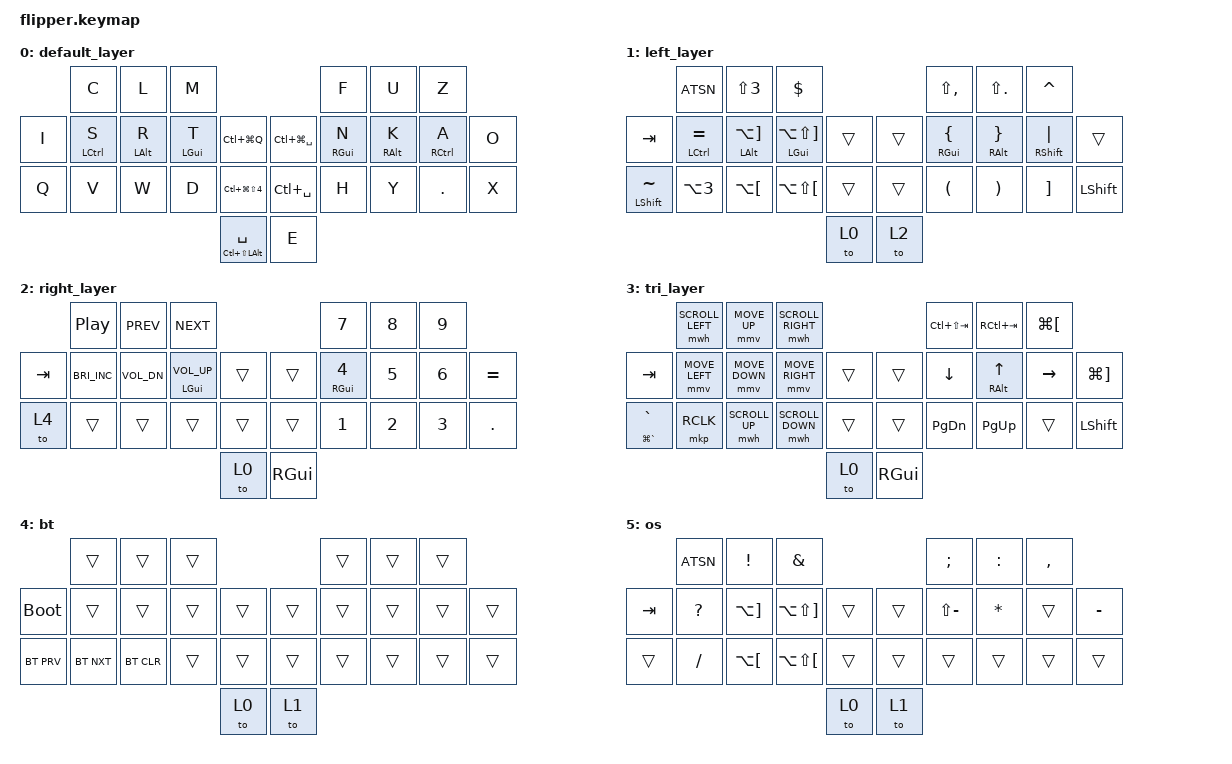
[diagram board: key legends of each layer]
/*
 * Copyright (c) 2020 The ZMK Contributors
 *
 * SPDX-License-Identifier: MIT
 */

#include <dt-bindings/zmk/mouse.h>
#include <behaviors.dtsi>
#include <dt-bindings/zmk/bt.h>
#include <dt-bindings/zmk/keys.h>

&mt {
    tapping-term-ms = <200>;
    flavor = "tap-preferred";
};

&sk {
    release-after-ms = <2000>;
    quick-release;
};

/ {
    combos {
        compatible = "zmk,combos";

        combo_esc {
            timeout-ms = <50>;
            key-positions = <17 18>;
            bindings = <&kp ESC>;
        };

        combo_bksc {
            timeout-ms = <20>;
            key-positions = <23 24>;
            bindings = <&to 3>;
        };

        combo_ent {
            timeout-ms = <20>;
            key-positions = <14 15>;
            bindings = <&kp RET>;
        };

        combo_1 {
            timeout-ms = <50>;
            key-positions = <26 27>;
            bindings = <&to 1>;
        };

        combo_3 {
            timeout-ms = <50>;
            key-positions = <4 5>;
            bindings = <&kp BKSP>;
        };

        caps {
            timeout-ms = <50>;
            key-positions = <24 25>;
            bindings = <&kp CAPS>;
        };

        rshift {
            timeout-ms = <50>;
            key-positions = <16 17>;
            bindings = <&sk RSHIFT>;
        };

        osl {
            timeout-ms = <50>;
            key-positions = <3 5>;
            bindings = <&sl 5>;
        };

        g {
            timeout-ms = <10>;
            key-positions = <8 9>;
            bindings = <&kp G>;
            layers = <0>;
        };

        j {
            timeout-ms = <20>;
            key-positions = <18 19>;
            bindings = <&kp J>;
            layers = <0>;
        };

        p {
            timeout-ms = <20>;
            key-positions = <12	13>;
            bindings = <&kp P>;
            layers = <0>;
        };

        b {
            timeout-ms = <20>;
            key-positions = <22	23>;
            bindings = <&kp B>;
            layers = <0>;
        };

        sqt {
            timeout-ms = <20>;
            key-positions = <8 9>;
            bindings = <&kp SQT>;
            layers = <1 5>;
        };

        dqt {
            timeout-ms = <20>;
            key-positions = <18 19>;
            bindings = <&kp DQT>;
            layers = <1 5>;
        };

        bslh {
            timeout-ms = <20>;
            key-positions = <12	13>;
            bindings = <&kp BSLH>;
            layers = <1>;
        };

        lbkt {
            timeout-ms = <20>;
            key-positions = <22	23>;
            bindings = <&kp LBKT>;
            layers = <1>;
        };

        plus {
            timeout-ms = <20>;
            key-positions = <8 9>;
            bindings = <&kp LS(EQUAL)>;
            layers = <2>;
        };

        prcnt {
            timeout-ms = <20>;
            key-positions = <18 19>;
            bindings = <&kp PRCNT>;
            layers = <2>;
        };

        minus {
            timeout-ms = <20>;
            key-positions = <12	13>;
            bindings = <&kp MINUS>;
            layers = <2>;
        };

        n0 {
            timeout-ms = <20>;
            key-positions = <22	23>;
            bindings = <&kp N0>;
            layers = <2>;
        };

        lalt {
            timeout-ms = <20>;
            key-positions = <8 9>;
            bindings = <&kp LALT>;
            layers = <3>;
        };

        del {
            timeout-ms = <20>;
            key-positions = <18 19>;
            bindings = <&kp DEL>;
            layers = <3>;
        };

        left {
            timeout-ms = <20>;
            key-positions = <12	13>;
            bindings = <&kp LEFT>;
            layers = <3>;
        };

        lclk {
            timeout-ms = <20>;
            key-positions = <22	23>;
            bindings = <&mkp LCLK>;
            layers = <3>;
        };
    };

    behaviors {
        hm: homerow_mods {
            compatible = "zmk,behavior-hold-tap";
            label = "HOMEROW_MODS";
            #binding-cells = <2>;
            tapping-term-ms = <200>;
            quick_tap_ms = <0>;
            flavor = "tap-preferred";
            bindings = <&kp>, <&kp>;
        };

        hs: homerow_shifts {
            compatible = "zmk,behavior-hold-tap";
            label = "HOMEROW_SHIFTS";
            #binding-cells = <2>;
            tapping-term-ms = <150>;
            quick_tap_ms = <0>;
            flavor = "balanced";
            bindings = <&kp>, <&kp>;
        };

        td: tapdance {
            compatible = "zmk,behavior-hold-tap";
            label = "TAPDANCE";
            #binding-cells = <2>;
            tapping-term-ms = <190>;
            quick_tap_ms = <0>;
            flavor = "tap-preferred";
            bindings = <&kp>, <&kp>;
        };
    };

    keymap {
        compatible = "zmk,keymap";

        default_layer {
            bindings = <
       &kp C       &kp L       &kp M                                                &kp F       &kp U       &kp Z
&kp I  &hm LCTL S  &hm LALT R  &hm LGUI T  &kp LC(LG(Q))         &kp LC(LG(SPACE))  &hm RGUI N  &hm RALT K  &hm RCTL A  &kp O
&kp Q  &kp V       &kp W       &kp D       &kp LC(LG(LS(N4)))    &kp LC(SPACE)      &kp H       &kp Y       &kp DOT     &kp X
                                           &mt LC(LS(LALT)) SPC  &kp E
            >;
        };

        left_layer {
            bindings = <
                  &kp ATSN        &kp LS(N3)         &kp DLLR                               &kp LS(COMMA)  &kp LS(DOT)    &kp CARET
&kp TAB           &hm LCTL EQUAL  &hm LALT LA(RBKT)  &hm LGUI LA(LS(RBKT))  &trans  &trans  &hm RGUI LBRC  &hm RALT RBRC  &hm RSHIFT PIPE  &trans
&hs LSHIFT TILDE  &kp LA(N3)      &kp LA(LBKT)       &kp LA(LS(LBKT))       &trans  &trans  &kp LPRN       &kp RPRN       &kp RBKT         &kp LSHIFT
                                                                            &to 0   &to 2
            >;
        };

        right_layer {
            bindings = <
         &kp C_PP              &kp C_PREV    &kp C_NEXT                           &kp N7       &kp N8  &kp N9
&kp TAB  &kp C_BRIGHTNESS_INC  &kp C_VOL_DN  &hm LGUI C_VOL_UP  &trans  &trans    &hm RGUI N4  &kp N5  &kp N6  &kp EQUAL
&to 4    &trans                &trans        &trans             &trans  &trans    &kp N1       &kp N2  &kp N3  &kp DOT
                                                                &to 0   &kp RGUI
            >;
        };

        tri_layer {
            bindings = <
                     &mwh SCROLL_LEFT  &mmv MOVE_UP    &mwh SCROLL_RIGHT                    &kp LC(LS(TAB))  &kp RC(TAB)  &kp LG(LBKT)
&kp TAB              &mmv MOVE_LEFT    &mmv MOVE_DOWN  &mmv MOVE_RIGHT    &trans  &trans    &kp DOWN         &hm RALT UP  &kp RIGHT     &kp LG(RBKT)
&td LG(GRAVE) GRAVE  &mkp RCLK         &mwh SCROLL_UP  &mwh SCROLL_DOWN   &trans  &trans    &kp PG_DN        &kp PG_UP    &trans        &kp LSHIFT
                                                                          &to 0   &kp RGUI
            >;
        };

        bt {
            bindings = <
             &trans      &trans      &trans                  &trans  &trans  &trans
&bootloader  &trans      &trans      &trans  &trans  &trans  &trans  &trans  &trans  &trans
&bt BT_PRV   &bt BT_NXT  &bt BT_CLR  &trans  &trans  &trans  &trans  &trans  &trans  &trans
                                             &to 0   &to 1
            >;
        };

        os {
            bindings = <
         &kp ATSN   &kp EXCL      &kp AMPS                          &kp SEMI       &kp COLON  &kp COMMA
&kp TAB  &kp QMARK  &kp LA(RBKT)  &kp LA(LS(RBKT))  &trans  &trans  &kp LS(MINUS)  &kp STAR   &trans     &kp MINUS
&trans   &kp SLASH  &kp LA(LBKT)  &kp LA(LS(LBKT))  &trans  &trans  &trans         &trans     &trans     &trans
                                                    &to 0   &to 1
            >;
        };
    };
};
